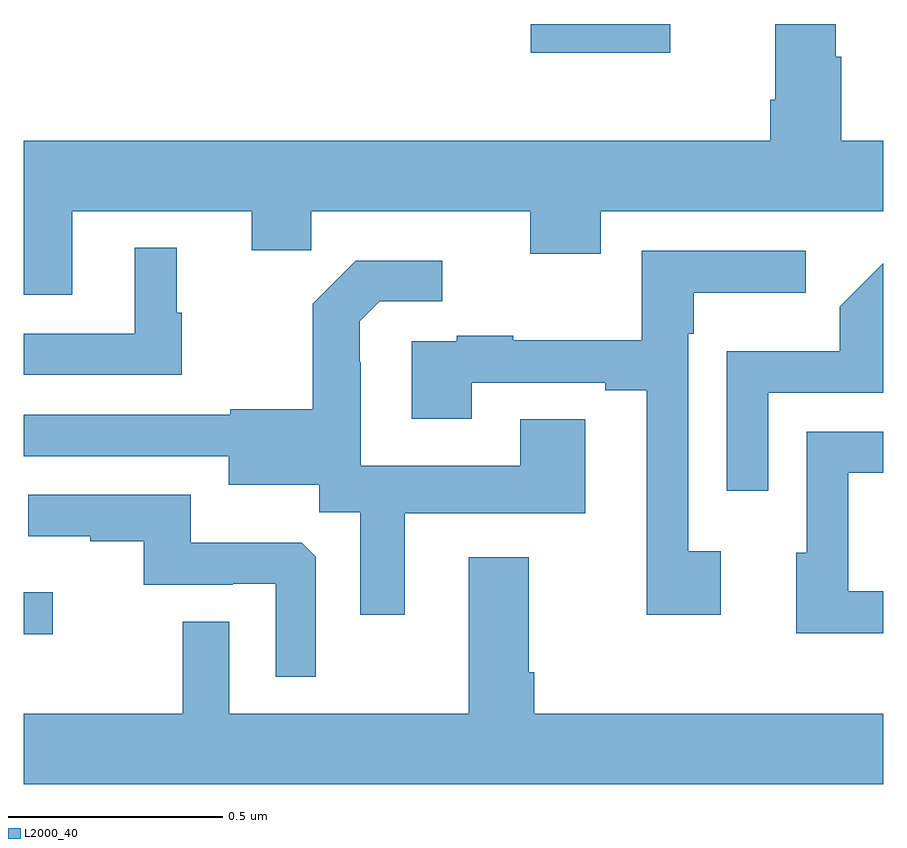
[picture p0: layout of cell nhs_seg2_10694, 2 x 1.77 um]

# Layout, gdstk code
import gdstk
lib = gdstk.Library(unit=1e-6, precision=1e-09)
def R(c, l, rs):  # rectangles x0, y0, x1, y1
    for r in rs: c.add(gdstk.rectangle(r[:2], r[2:], *l))
def P(c, l, *ps):  # polygons
    for p in ps: c.add(gdstk.Polygon(p, *l))
L2000_40 = (2000, 40)

nhs_seg2_10694 = lib.new_cell('nhs_seg2_10694')
R(nhs_seg2_10694, L2000_40, [(245,585.38,245.068,585.478), (246.18,586.733,246.504,586.8)])
P(nhs_seg2_10694, L2000_40, [(245.113,586.364),(245.531,586.364),(245.531,586.274),(245.669,586.274),(245.669,586.364),(246.179,586.364),(246.179,586.265),(246.343,586.265),(246.343,586.364),(247,586.364),(247,586.528),(246.902,586.528),(246.902,586.724),(246.889,586.724),(246.889,586.8),(246.749,586.8),(246.749,586.624),(246.737,586.624),(246.737,586.528),(245,586.528),(245,586.17),(245.113,586.17)],
  [(245.368,586.128),(245.356,586.128),(245.356,586.279),(245.258,586.279),(245.258,586.08),(245,586.08),(245,585.984),(245.368,585.984)],
  [(246.622,585.574),(246.546,585.574),(246.546,586.079),(246.559,586.079),(246.559,586.175),(246.82,586.175),(246.82,586.272),(246.438,586.272),(246.438,586.064),(246.139,586.064),(246.139,586.075),(246.007,586.075),(246.007,586.062),(245.903,586.062),(245.903,585.882),(246.043,585.882),(246.043,585.966),(246.353,585.966),(246.353,585.948),(246.449,585.948),(246.449,585.426),(246.622,585.426)],
  [(245.887,585.662),(246.307,585.662),(246.307,585.881),(246.155,585.881),(246.155,585.772),(245.784,585.772),(245.784,586.013),(245.782,586.013),(245.782,586.108),(245.829,586.155),(245.974,586.155),(245.974,586.249),(245.773,586.249),(245.673,586.149),(245.673,585.904),(245.481,585.904),(245.481,585.891),(245,585.891),(245,585.795),(245.477,585.795),(245.477,585.728),(245.688,585.728),(245.688,585.664),(245.783,585.664),(245.783,585.426),(245.887,585.426)],
  [(246.732,585.942),(247,585.942),(247,586.244),(246.898,586.142),(246.898,586.039),(246.636,586.039),(246.636,585.714),(246.732,585.714)],
  [(247,585.48),(246.918,585.48),(246.918,585.756),(247,585.756),(247,585.852),(246.822,585.852),(246.822,585.57),(246.797,585.57),(246.797,585.383),(247,585.383)],
  [(245.679,585.561),(245.647,585.593),(245.389,585.593),(245.389,585.705),(245.011,585.705),(245.011,585.608),(245.155,585.608),(245.155,585.597),(245.279,585.597),(245.279,585.495),(245.486,585.495),(245.486,585.498),(245.586,585.498),(245.586,585.281),(245.679,585.281)],
  [(247,585.196),(246.188,585.196),(246.188,585.292),(246.175,585.292),(246.175,585.559),(246.035,585.559),(246.035,585.196),(245.478,585.196),(245.478,585.41),(245.37,585.41),(245.37,585.196),(245,585.196),(245,585.032),(247,585.032)])

lib.write_gds('nhs_seg2_10694.gds')
